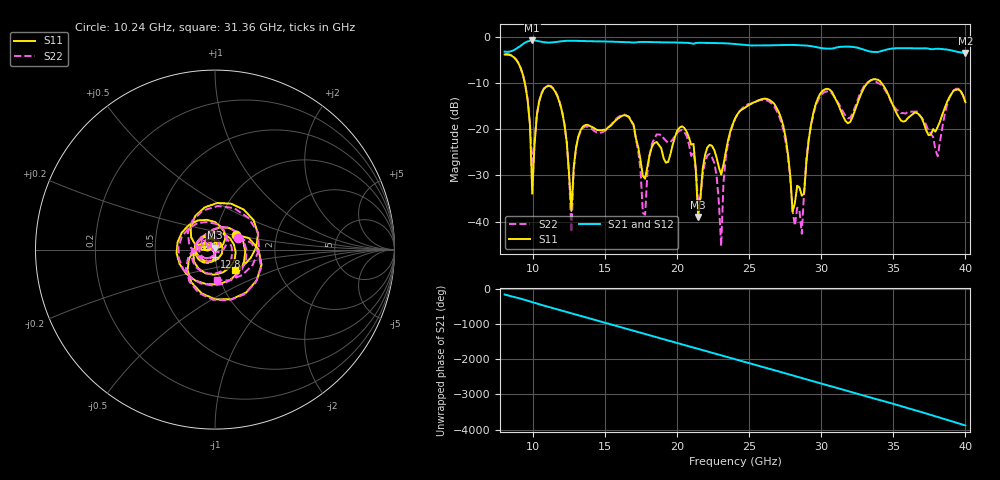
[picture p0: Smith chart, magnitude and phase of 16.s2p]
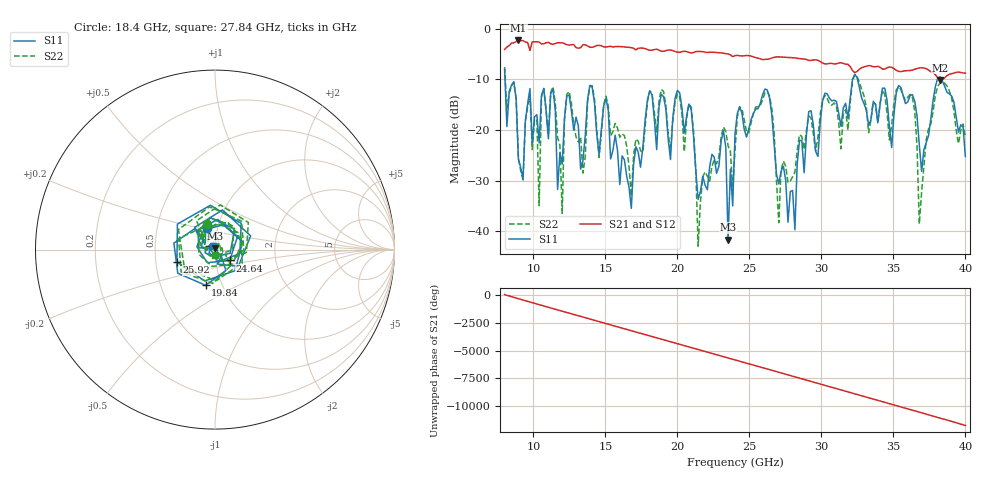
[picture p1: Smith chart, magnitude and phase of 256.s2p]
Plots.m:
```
clear;
close all;
SetupPath;


linewidth = 1;
axlinewidth = 1;
nplotx = 6;
nploty = 4;
xlims = [12 32];

% Connector
folder = 'h:\Server\Exports\';
[parameters, SCST] = CST.LoadData([folder, 'Connector_TR_Deembed_0um.s2p']);
fCST = parameters.frequencies.';

files = {'Line.s2p', '16.s2p', '64.s2p', '256.s2p', '1024.s2p'};
clrs = lines(7);
clrs(4,:) = [];
for(ifile = 1:length(files))
    file = files{ifile};
    [parameters, data] = CST.LoadData(file);
    fs = parameters.frequencies/1e9;

    s11 = squeeze(data(1,1,:));
    s12 = squeeze(data(1,2,:));
    s21 = squeeze(data(2,1,:));
    s22 = squeeze(data(2,2,:));
    [hFig, hAx] = figureex;
        if(length(hAx.Children) < 2)
            patch(hAx, [28 31 31 28], [-1e3 -1e3 1e3 1e3], [0 0 0], ...
                'FaceAlpha', 0.1, 'EdgeColor', 'none');
            patch(hAx, [13.75 14.5 14.5 13.75], [-1e3 -1e3 1e3 1e3], [0 0 0], ...
                'FaceAlpha', 0.1, 'EdgeColor', 'none');
        end
        hAx.ColorOrder = clrs;
        alignplot(hFig, nplotx, nploty, hFig.Number, [], 1);
%         hAx.Title.String = strrep(file, '.s2p', '');
        plot(hAx, fs, 20*log10(abs(s11)), 'LineWidth', linewidth);
        addlegendentry(hAx, 'S11');
        plot(hAx, fs, 20*log10(abs(s12)), 'LineWidth', linewidth);
        addlegendentry(hAx, 'S12');
%         plot(hAx, fs, 20*log10(abs(s21)), 'LineWidth', linewidth);
%         addlegendentry(hAx, 'S21');
        plot(hAx, fs, 20*log10(abs(s22)), 'LineWidth', linewidth);
        addlegendentry(hAx, 'S22');
        
    %% 1-to-1
    if(ifile == find(strcmp(files, 'Line.s2p')))
        [hFig2, hAx2] = figureex;
        alignplot(hFig2, nplotx, nploty, hFig2.Number, [], 1);
        
        folder = 'h:\Server\Exports\';
        filename = '1-to-1-lossy_rough0um-';
        [f, ~, S11] = HFSS.LoadData([folder, filename, 'S11.csv']);
%             plot(hAx, f, S11, 'x', 'Color', clrs(1,:), 'LineWidth', linewidth);
%             addlegendentry(hAx, '0.0\mum');
        [f, ~, S12] = HFSS.LoadData([folder, filename, 'S12.csv']);
% %             plot(hAx, f, S12, 'x', 'Color', clrs(2,:), 'LineWidth', linewidth);
%             plot(hAx2, f, 10*log10(10.^(S12./20).^2 + 10.^(S11./20).^2), 'x', 'Color', clrs(1,:), 'LineWidth', linewidth);
%             addlegendentry(hAx2, '0.0\mum');
        S11i = interp1(fCST./1e9, squeeze(SCST(1,1,:)), f);
        S12i = interp1(fCST./1e9, squeeze(SCST(1,2,:)), f);
            plot(hAx2, f, 10*log10(10.^(S12./20).^2 + 10.^(S11./20).^2) + 2*10*log10(abs(S11i).^2+abs(S12i).^2), 'o', 'Color', clrs(1,:), 'LineWidth', linewidth);
            addlegendentry(hAx2, 'Simulation');% + connector');
        
        
        
        
        plot(hAx2, fs, 10*log10(abs(s11).^2+abs(s12).^2), '-', 'Color', clrs(1,:), 'LineWidth', linewidth);
        addlegendentry(hAx2, 'Measured');
        
        xlim(hAx2, xlims);
        xlabel(hAx2, 'Frequency [GHz]');
        ylabel(hAx2, '|S_{11}|^2+|S_{12}|^2');
    end
        
    
    %% 1-to-16
    if(ifile == find(strcmp(files, '16.s2p')))
        [hFig2, hAx2] = figureex;
        alignplot(hFig2, nplotx, nploty, hFig2.Number, [], 1);
%         title(hAx2, '16');
        
        
        folder = 'h:\Server\Exports\';
        filename = '1-to-16-lossy-back2back-';
        [f, ~, S11] = HFSS.LoadData([folder, filename, 'S11.csv']);
%             plot(hAx, f, S11, 'o', 'Color', clrs(1,:), 'LineWidth', linewidth);
%             addlegendentry(hAx, 'Simulation');
        [f, ~, S12] = HFSS.LoadData([folder, filename, 'S12.csv']);
% %             plot(hAx, f, S12, 'x', 'Color', clrs(2,:), 'LineWidth', linewidth);
%             plot(hAx2, f, 10*log10(10.^(S12./20).^2 + 10.^(S11./20).^2), 'x', 'Color', clrs(1,:), 'LineWidth', linewidth);
%             addlegendentry(hAx2, 'Simulation');
        S11i = interp1(fCST./1e9, squeeze(SCST(1,1,:)), f);
        S12i = interp1(fCST./1e9, squeeze(SCST(1,2,:)), f);
            plot(hAx2, f, 10*log10(10.^(S12./20).^2 + 10.^(S11./20).^2) + 2*10*log10(abs(S11i).^2+abs(S12i).^2), 'o', 'Color', clrs(1,:), 'LineWidth', linewidth);
            addlegendentry(hAx2, 'Simulation');
        
        
        plot(hAx2, fs, 10*log10(abs(s11).^2+abs(s12).^2), '-', 'Color', clrs(1,:), 'LineWidth', linewidth);
        addlegendentry(hAx2, 'Measured');
        xlim(hAx2, xlims);
        xlabel(hAx2, 'Frequency [GHz]');
        ylabel(hAx2, '|S_{11}|^2+|S_{12}|^2');
    end
    
    if(ifile == find(strcmp(files, '64.s2p')))
        [hFig2, hAx2] = figureex;
        plot(hAx2, fs, 10*log10(abs(s11).^2+abs(s12).^2), '-', 'Color', clrs(1,:), 'LineWidth', linewidth);
        addlegendentry(hAx2, 'Measured');
    end
        
        
        xlabel(hAx, 'Frequency [GHz]');
        ylabel(hAx, 'S_{ij} [dB]');
        xlim(hAx, xlims);
        ylim(hAx, [-30 0]);
        movelegend(hAx, 'se');
        hAx.LineWidth = axlinewidth;
    dispex('%s: %.2f at 12, %.2f at 32.\n', file, 20*log10(s12(fs == 12)), 20*log10(s12(fs == 32)));
end

for(ifig = 1:100)
    if(ishandle(ifig))
        hFig = figure(ifig);
        hAx = hFig.CurrentAxes;
        cropfigure(hFig);
        legendlinelength(hFig, 15);
        legend(hAx, 'NumColumns', 5);
        drawnow;
        movelegend(hFig, 'se');
    end
end
```
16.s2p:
!Agilent Technologies,N5227A,US51270464,A.10.00.00
!Agilent N5227A: A.10.00.00
!Date: Thursday, July 23, 2020 14:54:18
!Correction: S11(Full 2 Port(1,2))
!S21(Full 2 Port(1,2))
!S12(Full 2 Port(1,2))
!S22(Full 2 Port(1,2))
!S2P File: Measurements: S11, S21, S12, S22:
# Hz S  RI  R 50
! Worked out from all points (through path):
!   201 points, 8 GHz to 40 GHz, reference 50 ohm
!   highest |S21| = -0.76 dB at 9.92 GHz (marker M1); lowest = -3.5 dB at 40 GHz (marker M2)
!   lowest |S11| = -39.0 dB at 21.44 GHz (marker M3), VSWR 1.02, Z = 49.9 + j1.12 ohm
!   |S11| at or under -10 dB: 9.403 GHz to 33.2 GHz (23.79 GHz wide, 112 % of centre); 34.18 GHz to end of sweep
!   |S22| runs from -45.3 to -3.8 dB; largest |S21 - S12| = 0.00059
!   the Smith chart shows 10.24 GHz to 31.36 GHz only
!   S11 on the Smith chart (normalised r, x): 10.24 GHz: 1.24, +0.21; 12.8 GHz: 0.99, -0.08; 31.36 GHz: 1.21, -0.28
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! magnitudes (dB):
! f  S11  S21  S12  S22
! 8 GHz  -3.8  -3.2  -3.2  -3.8
! 9.92 GHz  -34.0  -0.8  -0.8  -28.0
! 10.24 GHz  -17.0  -0.8  -0.8  -16.8
! 12.8 GHz  -28.3  -0.8  -0.8  -28.5
! 20.32 GHz  -19.4  -1.2  -1.2  -20.1
! 21.44 GHz  -39.0  -1.3  -1.3  -35.7
! 23.04 GHz  -29.8  -1.4  -1.4  -45.3
! 24 GHz  -17.7  -1.5  -1.5  -17.8
! 28.64 GHz  -34.4  -1.8  -1.8  -42.6
! 31.36 GHz  -16.1  -2.1  -2.1  -15.4
! 40 GHz  -14.2  -3.5  -3.5  -14.0
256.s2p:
!Agilent Technologies,N5227A,US51270464,A.10.00.00
!Agilent N5227A: A.10.00.00
!Date: Thursday, July 23, 2020 14:58:53
!Correction: S11(Full 2 Port(1,2))
!S21(Full 2 Port(1,2))
!S12(Full 2 Port(1,2))
!S22(Full 2 Port(1,2))
!S2P File: Measurements: S11, S21, S12, S22:
# Hz S  RI  R 50
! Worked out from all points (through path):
!   201 points, 8 GHz to 40 GHz, reference 50 ohm
!   highest |S21| = -2.34 dB at 8.96 GHz (marker M1); lowest = -10.2 dB at 38.24 GHz (marker M2)
!   lowest |S11| = -41.7 dB at 23.52 GHz (marker M3), VSWR 1.02, Z = 50.1 + j0.825 ohm
!   |S11| at or under -10 dB: 8.027 GHz to 32.16 GHz (24.13 GHz wide, 120 % of centre); 32.51 GHz to 38.06 GHz (5.549 GHz wide, 15.7 % of centre); 38.34 GHz to end of sweep
!   |S22| runs from -43.0 to -7.6 dB; largest |S21 - S12| = 0.00038
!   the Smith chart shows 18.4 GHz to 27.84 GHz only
!   S11 on the Smith chart (normalised r, x): 18.4 GHz: 0.89, +0.21; 19.84 GHz: 0.84, -0.35; 24.64 GHz: 1.17, -0.14; 25.92 GHz: 0.64, -0.09; 27.84 GHz: 0.97, +0.04
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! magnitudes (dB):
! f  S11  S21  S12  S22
! 8 GHz  -8.1  -4.1  -4.1  -7.6
! 8.96 GHz  -25.7  -2.3  -2.3  -25.7
! 18.4 GHz  -17.9  -4.1  -4.1  -16.6
! 19.84 GHz  -13.7  -4.5  -4.5  -14.5
! 23.52 GHz  -41.7  -5.0  -5.0  -23.2
! 24 GHz  -20.9  -5.3  -5.3  -24.2
! 24.64 GHz  -19.9  -5.4  -5.4  -18.0
! 25.92 GHz  -13.0  -6.1  -6.1  -14.0
! 27.84 GHz  -32.2  -5.7  -5.7  -30.1
! 38.24 GHz  -9.5  -10.2  -10.2  -10.8
! 40 GHz  -25.3  -8.8  -8.8  -21.5
